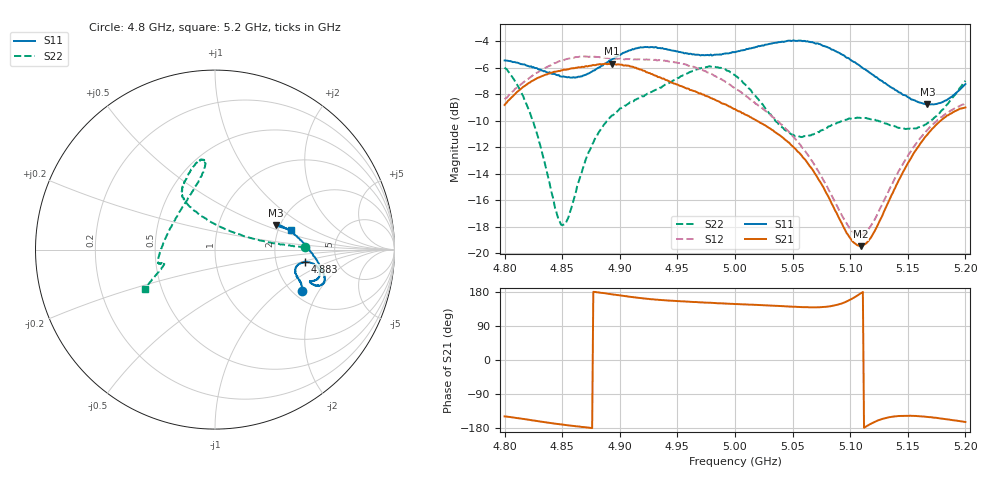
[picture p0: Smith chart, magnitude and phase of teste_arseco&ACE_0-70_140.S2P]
! Network Analyzer HP8722D
! Hewlett-Packard
! Data name: Linha & Wilkinson
! Saver's name: Rodrigo Anjos
! Comments: Teste da utilização de aquisição
! continua pelo VNA HP8722D
! Time and date: 8/5/2025 13:55
!  Frequency  S11  S21  S12  S22
# HZ  S  MA R 50
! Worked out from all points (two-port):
!   401 points, 4.8 GHz to 5.2 GHz, reference 50 ohm
!   highest |S21| = -5.68 dB at 4.893 GHz (marker M1); lowest = -19.5 dB at 5.109 GHz (marker M2)
!   |S21| within 3 dB of the highest: 4.801 GHz to 4.989 GHz (187.4 MHz wide, 3.83 % of centre)
!   lowest |S11| = -8.8 dB at 5.167 GHz (marker M3), VSWR 2.15, Z = 94.8 + j30 ohm
!   |S11| at or under -10 dB: nowhere
!   |S22| runs from -17.9 to -5.9 dB; largest |S21 - S12| = 1.1
!   S11 on the Smith chart (normalised r, x): 4.8 GHz: 2.23, -1.43; 4.883 GHz: 2.92, -0.54; 5.2 GHz: 2.33, +0.64
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4.8e9  0.5347 -25.5  0.3631 -148.8  0.3816 10.3  0.5024 1.4
4.812e9  0.5229 -22.5  0.4102 -153.6  0.4281 8.9  0.4242 2.7
4.823e9  0.5084 -20.7  0.4451 -158.7  0.4641 7.3  0.3293 6.2
4.845e9  0.4711 -16.8  0.4854 -168.4  0.5244 3.8  0.1429 41.4
4.849e9  0.465 -16.2  0.4901 -170.0  0.533 3.0  0.1283 58.2
4.855e9  0.4618 -14.4  0.4948 -172.3  0.5425 2.1  0.1353 84.5
4.867e9  0.4649 -11.0  0.5057 -176.7  0.5524 0.5  0.2022 112.3
4.883e9  0.5045 -7.9  0.5178 177.5  0.5488 -0.8  0.2914 121.1
4.893e9  0.5394 -7.9  0.5201 173.4  0.5443 -0.8  0.3311 121.9
4.915e9  0.5941 -11.6  0.4977 164.5  0.5388 -0.7  0.3829 118.6
4.934e9  0.5954 -15.5  0.4624 158.6  0.5367 -1.3  0.4194 113.0
4.973e9  0.5591 -18.6  0.3971 151.6  0.4888 -4.8  0.5039 99.8
5e9  0.5745 -19.3  0.3504 147.7  0.4198 -5.1  0.4703 96.9
5.043e9  0.6291 -17.6  0.2695 141.8  0.2986 2.8  0.2929 130.0
5.067e9  0.627 -13.4  0.2079 139.0  0.2228 9.5  0.2809 164.5
5.099e9  0.5437 -2.5  0.1157 157.5  0.1254 38.7  0.3229 -170.1
5.109e9  0.5073 2.2  0.1064 175.4  0.1172 58.5  0.3242 -167.4
5.119e9  0.4739 7.4  0.1166 -166.5  0.1289 77.9  0.3209 -166.1
5.134e9  0.4271 14.5  0.159 -150.9  0.1742 94.8  0.3052 -165.8
5.167e9  0.3646 22.1  0.2804 -150.1  0.2923 102.4  0.3098 -161.4
5.182e9  0.3763 20.3  0.3255 -155.7  0.3337 102.7  0.3559 -156.8
5.2e9  0.4353 14.8  0.3552 -163.5  0.3681 103.0  0.4482 -150.4
